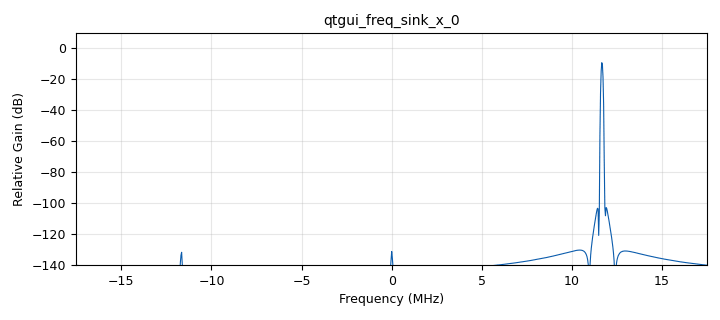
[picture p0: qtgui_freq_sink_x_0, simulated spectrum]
options:
  parameters:
    generate_options: qt_gui
    id: radio_test
    output_language: python
    title: Not titled yet
  states: {}

blocks:
- name: samp_rate
  id: variable
  parameters:
    value: 35e6
  states: {}
- name: analog_sig_source_x_0
  id: analog_sig_source_x
  parameters:
    amp: '1'
    freq: int(samp_rate/3)
    offset: '0'
    phase: '0'
    samp_rate: samp_rate
    type: complex
    waveform: analog.GR_COS_WAVE
  states: {}
- name: qtgui_freq_sink_x_0
  id: qtgui_freq_sink_x
  parameters:
    bw: samp_rate
    fc: '0'
    fftsize: '1024'
    type: complex
  states: {}
- name: qtgui_freq_sink_x_0_0
  id: qtgui_freq_sink_x
  parameters:
    bw: samp_rate
    fc: '0'
    fftsize: '1024'
    type: complex
  states: {}
- name: uhd_usrp_sink_0
  id: uhd_usrp_sink
  parameters:
    ant0: '"TX/RX"'
    center_freq0: 1e9
    gain0: '20'
    samp_rate: samp_rate
    sync: sync
    type: fc32
  states: {}
- name: uhd_usrp_source_0
  id: uhd_usrp_source
  parameters:
    ant0: '"RX2"'
    center_freq0: 1e9
    gain0: '50'
    samp_rate: samp_rate
    sync: sync
    type: fc32
  states: {}

connections:
- [analog_sig_source_x_0, '0', qtgui_freq_sink_x_0, '0']
- [analog_sig_source_x_0, '0', uhd_usrp_sink_0, '0']
- [uhd_usrp_source_0, '0', qtgui_freq_sink_x_0_0, '0']

metadata:
  file_format: 1
  grc_version: 3.10.10.0
